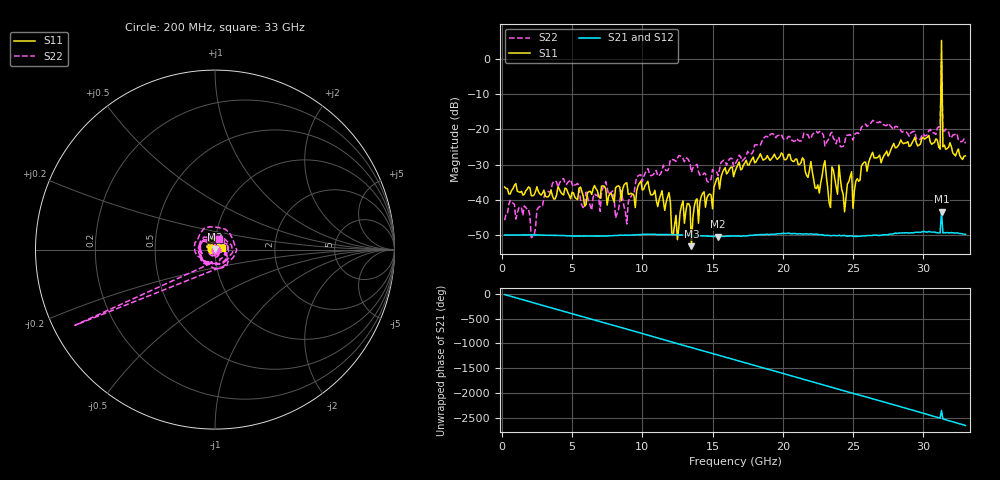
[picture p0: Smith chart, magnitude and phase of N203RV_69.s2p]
# GHZ S RI R 50
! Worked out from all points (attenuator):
!   329 points, 200 MHz to 33 GHz, reference 50 ohm
!   highest |S21| = -43.33 dB at 31.3 GHz (marker M1); lowest = -50.4 dB at 15.4 GHz (marker M2)
!   lowest |S11| = -53.1 dB at 13.5 GHz (marker M3), VSWR 1.00, Z = 50.1 + j0.198 ohm
!   |S11| at or under -10 dB: start of sweep to 31.25 GHz; 31.35 GHz to end of sweep
!   |S22| runs from -50.7 to -1.0 dB; largest |S21 - S12| = 0.00019
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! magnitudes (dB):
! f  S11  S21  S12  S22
! 200 MHz  -36.4  -49.9  -49.9  -45.7
! 5.7 GHz  -37.7  -50.2  -50.2  -41.6
! 7.4 GHz  -36.9  -50.3  -50.2  -34.8
! 8.9 GHz  -35.2  -50.0  -50.0  -46.8
! 11.2 GHz  -40.0  -49.8  -49.8  -33.1
! 12.5 GHz  -51.3  -49.8  -49.8  -28.3
! 13.3 GHz  -41.1  -50.1  -50.1  -28.7
! 13.5 GHz  -53.1  -50.1  -50.1  -32.2
! 13.8 GHz  -40.1  -50.1  -50.1  -30.2
! 15.4 GHz  -33.7  -50.4  -50.4  -33.2
! 16.6 GHz  -32.0  -50.3  -50.3  -29.9
! 22.1 GHz  -32.0  -49.7  -49.6  -21.5
! 23 GHz  -28.9  -50.1  -50.0  -24.7
! 23.4 GHz  -42.2  -50.2  -50.1  -21.2
! 23.5 GHz  -30.7  -50.1  -50.1  -20.9
! 24 GHz  -30.1  -50.0  -50.0  -22.4
! 24.4 GHz  -43.4  -50.0  -50.0  -24.2
! 27.6 GHz  -26.8  -49.7  -49.7  -18.8
! 31.2 GHz  -25.6  -49.3  -49.2  -19.2
! 31.3 GHz  5.1  -43.3  -43.5  -1.0
! 31.4 GHz  -25.0  -49.4  -49.3  -20.3
! 33 GHz  -27.6  -49.8  -49.8  -24.0
